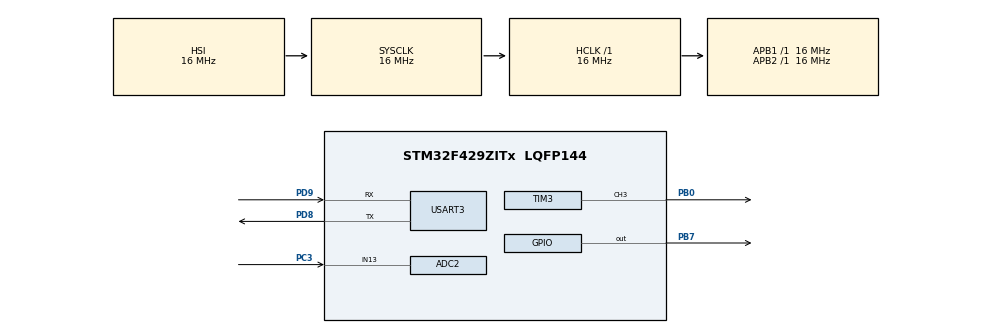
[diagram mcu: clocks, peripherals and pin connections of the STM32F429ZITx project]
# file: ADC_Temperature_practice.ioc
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ADC1.Channel-0\#ChannelRegularConversion=ADC_CHANNEL_TEMPSENSOR
ADC1.ContinuousConvMode=DISABLE
ADC1.InjNumberOfConversion=0
ADC1.NbrOfConversion=1
ADC1.NbrOfConversionFlag=1
ADC1.Rank-0\#ChannelRegularConversion=1
ADC1.SamplingTime-0\#ChannelRegularConversion=ADC_SAMPLETIME_480CYCLES
ADC1.master=1
ADC2.Channel-0\#ChannelRegularConversion=ADC_CHANNEL_13
ADC2.NbrOfConversionFlag=1
ADC2.Rank-0\#ChannelRegularConversion=1
ADC2.SamplingTime-0\#ChannelRegularConversion=ADC_SAMPLETIME_480CYCLES
Mcu.Family=STM32F4
Mcu.Name=STM32F429ZITx
Mcu.Package=LQFP144
NVIC.ADC_IRQn=true\:0\:0\:false\:true\:true\:1\:true\:true\:true
NVIC.PriorityGroup=NVIC_PRIORITYGROUP_4
NVIC.TIM2_IRQn=true\:0\:0\:false\:false\:true\:true\:true\:true
PB0.Signal=S_TIM3_CH3
PB7.Signal=GPIO_Output
PC3.Signal=ADCx_IN13
PD8.Mode=Asynchronous
PD8.Signal=USART3_TX
PD9.Mode=Asynchronous
PD9.Signal=USART3_RX
ProjectManager.HeapSize=0x200
ProjectManager.StackSize=0x400
ProjectManager.TargetToolchain=STM32CubeIDE
RCC.AHBFreq_Value=16000000
RCC.APB1Freq_Value=16000000
RCC.APB2Freq_Value=16000000
RCC.CortexFreq_Value=16000000
RCC.HSE_VALUE=25000000
RCC.HSI_VALUE=16000000
RCC.LSE_VALUE=32768
RCC.SYSCLKFreq_VALUE=16000000
RCC.VCOOutputFreq_Value=192000000
SH.ADCx_IN13.0=ADC2_IN13,IN13
SH.S_TIM3_CH3.0=TIM3_CH3,PWM Generation3 CH3
TIM2.AutoReloadPreload=TIM_AUTORELOAD_PRELOAD_ENABLE
TIM2.Period=9999
TIM2.Prescaler=1599
TIM3.Channel-PWM\ Generation3\ CH3=TIM_CHANNEL_3
TIM3.Period=19999
TIM3.Prescaler=15
TIM3.Pulse-PWM\ Generation3\ CH3=499
TIM3.TIM_MasterOutputTrigger=TIM_TRGO_UPDATE
USART3.VirtualMode=VM_ASYNC
VP_ADC1_TempSens_Input.Mode=IN-TempSens
VP_TIM2_VS_ClockSourceINT.Mode=Internal
VP_TIM3_VS_ClockSourceINT.Mode=Internal
board=custom

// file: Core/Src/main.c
/* USER CODE BEGIN Header */
/**
  ******************************************************************************
  * @file           : main.c
  * @brief          : Main program body
  ******************************************************************************
  * @attention
  *
  * Copyright (c) 2024 STMicroelectronics.
  * All rights reserved.
  *
  * This software is licensed under terms that can be found in the LICENSE file
  * in the root directory of this software component.
  * If no LICENSE file comes with this software, it is provided AS-IS.
  *
  ******************************************************************************
  */
/* USER CODE END Header */
#include "main.h"

/* USER CODE BEGIN Includes */
#include <string.h>
#include <stdio.h>
/* USER CODE END Includes */

ADC_HandleTypeDef hadc1;
ADC_HandleTypeDef hadc2;

TIM_HandleTypeDef htim2;
TIM_HandleTypeDef htim3;

UART_HandleTypeDef huart3;

void SystemClock_Config(void);
static void MX_GPIO_Init(void);
static void MX_ADC1_Init(void);
static void MX_USART3_UART_Init(void);
static void MX_TIM3_Init(void);
static void MX_ADC2_Init(void);
static void MX_TIM2_Init(void);
static void MX_NVIC_Init(void);

int main(void)
{

  /* USER CODE BEGIN 1 */
//	char uart_buf[30];
//	uint16_t adc;
  /* USER CODE END 1 */

  /* MCU Configuration--------------------------------------------------------*/

  /* Reset of all peripherals, Initializes the Flash interface and the Systick. */
  HAL_Init();

  /* Configure the system clock */
  SystemClock_Config();

  /* Initialize all configured peripherals */
  MX_GPIO_Init();
  MX_ADC1_Init();
  MX_USART3_UART_Init();
  MX_TIM3_Init();
  MX_ADC2_Init();
  MX_TIM2_Init();

  /* Initialize interrupts */
  MX_NVIC_Init();
  /* USER CODE BEGIN 2 */
  HAL_ADC_Start_IT(&hadc2);
  HAL_TIM_Base_Start_IT(&htim2);
  HAL_TIM_PWM_Start(&htim3, TIM_CHANNEL_3);
  /* USER CODE END 2 */

  /* Infinite loop */
  /* USER CODE BEGIN WHILE */
  while (1)
  {
//	  memset(uart_buf, 0, sizeof(uart_buf));
////	  HAL_ADC_PollForConversion(&hadc1, 100);
//	  adc = HAL_ADC_GetValue(&hadc1);
//	  sprintf(uart_buf, "Temp: %d\n\r", adc);
//	  HAL_UART_Transmit_IT(&huart3, uart_buf, sizeof(uart_buf));
//	  HAL_Delay(100);
    /* USER CODE END WHILE */

  }
}

void SystemClock_Config(void)
{
  RCC_OscInitTypeDef RCC_OscInitStruct = {0};
  RCC_ClkInitTypeDef RCC_ClkInitStruct = {0};

  /** Configure the main internal regulator output voltage
  */
  __HAL_RCC_PWR_CLK_ENABLE();
  __HAL_PWR_VOLTAGESCALING_CONFIG(PWR_REGULATOR_VOLTAGE_SCALE3);

  /** Initializes the RCC Oscillators according to the specified parameters
  * in the RCC_OscInitTypeDef structure.
  */
  RCC_OscInitStruct.OscillatorType = RCC_OSCILLATORTYPE_HSI;
  RCC_OscInitStruct.HSIState = RCC_HSI_ON;
  RCC_OscInitStruct.HSICalibrationValue = RCC_HSICALIBRATION_DEFAULT;
  RCC_OscInitStruct.PLL.PLLState = RCC_PLL_NONE;
  if (HAL_RCC_OscConfig(&RCC_OscInitStruct) != HAL_OK)
  {
    Error_Handler();
  }

  /** Initializes the CPU, AHB and APB buses clocks
  */
  RCC_ClkInitStruct.ClockType = RCC_CLOCKTYPE_HCLK|RCC_CLOCKTYPE_SYSCLK
                              |RCC_CLOCKTYPE_PCLK1|RCC_CLOCKTYPE_PCLK2;
  RCC_ClkInitStruct.SYSCLKSource = RCC_SYSCLKSOURCE_HSI;
  RCC_ClkInitStruct.AHBCLKDivider = RCC_SYSCLK_DIV1;
  RCC_ClkInitStruct.APB1CLKDivider = RCC_HCLK_DIV1;
  RCC_ClkInitStruct.APB2CLKDivider = RCC_HCLK_DIV1;

  if (HAL_RCC_ClockConfig(&RCC_ClkInitStruct, FLASH_LATENCY_0) != HAL_OK)
  {
    Error_Handler();
  }
}

/**
  * @brief NVIC Configuration.
  * @retval None
  */
static void MX_NVIC_Init(void)
{
  /* ADC_IRQn interrupt configuration */
  HAL_NVIC_SetPriority(ADC_IRQn, 0, 0);
  HAL_NVIC_EnableIRQ(ADC_IRQn);
}

static void MX_ADC1_Init(void)
{

  ADC_ChannelConfTypeDef sConfig = {0};

  /** Configure the global features of the ADC (Clock, Resolution, Data Alignment and number of conversion)
  */
  hadc1.Instance = ADC1;
  hadc1.Init.ClockPrescaler = ADC_CLOCK_SYNC_PCLK_DIV2;
  hadc1.Init.Resolution = ADC_RESOLUTION_12B;
  hadc1.Init.ScanConvMode = DISABLE;
  hadc1.Init.ContinuousConvMode = DISABLE;
  hadc1.Init.DiscontinuousConvMode = DISABLE;
  hadc1.Init.ExternalTrigConvEdge = ADC_EXTERNALTRIGCONVEDGE_NONE;
  hadc1.Init.ExternalTrigConv = ADC_SOFTWARE_START;
  hadc1.Init.DataAlign = ADC_DATAALIGN_RIGHT;
  hadc1.Init.NbrOfConversion = 1;
  hadc1.Init.DMAContinuousRequests = DISABLE;
  hadc1.Init.EOCSelection = ADC_EOC_SINGLE_CONV;
  if (HAL_ADC_Init(&hadc1) != HAL_OK)
  {
    Error_Handler();
  }

  /** Configure for the selected ADC regular channel its corresponding rank in the sequencer and its sample time.
  */
  sConfig.Channel = ADC_CHANNEL_TEMPSENSOR;
  sConfig.Rank = 1;
  sConfig.SamplingTime = ADC_SAMPLETIME_480CYCLES;
  if (HAL_ADC_ConfigChannel(&hadc1, &sConfig) != HAL_OK)
  {
    Error_Handler();
  }

}

static void MX_ADC2_Init(void)
{

  ADC_ChannelConfTypeDef sConfig = {0};

  /** Configure the global features of the ADC (Clock, Resolution, Data Alignment and number of conversion)
  */
  hadc2.Instance = ADC2;
  hadc2.Init.ClockPrescaler = ADC_CLOCK_SYNC_PCLK_DIV2;
  hadc2.Init.Resolution = ADC_RESOLUTION_12B;
  hadc2.Init.ScanConvMode = DISABLE;
  hadc2.Init.ContinuousConvMode = DISABLE;
  hadc2.Init.DiscontinuousConvMode = DISABLE;
  hadc2.Init.ExternalTrigConvEdge = ADC_EXTERNALTRIGCONVEDGE_NONE;
  hadc2.Init.ExternalTrigConv = ADC_SOFTWARE_START;
  hadc2.Init.DataAlign = ADC_DATAALIGN_RIGHT;
  hadc2.Init.NbrOfConversion = 1;
  hadc2.Init.DMAContinuousRequests = DISABLE;
  hadc2.Init.EOCSelection = ADC_EOC_SINGLE_CONV;
  if (HAL_ADC_Init(&hadc2) != HAL_OK)
  {
    Error_Handler();
  }

  /** Configure for the selected ADC regular channel its corresponding rank in the sequencer and its sample time.
  */
  sConfig.Channel = ADC_CHANNEL_13;
  sConfig.Rank = 1;
  sConfig.SamplingTime = ADC_SAMPLETIME_480CYCLES;
  if (HAL_ADC_ConfigChannel(&hadc2, &sConfig) != HAL_OK)
  {
    Error_Handler();
  }

}

static void MX_TIM2_Init(void)
{

  TIM_ClockConfigTypeDef sClockSourceConfig = {0};
  TIM_MasterConfigTypeDef sMasterConfig = {0};

  htim2.Instance = TIM2;
  htim2.Init.Prescaler = 1599;
  htim2.Init.CounterMode = TIM_COUNTERMODE_UP;
  htim2.Init.Period = 9999;
  htim2.Init.ClockDivision = TIM_CLOCKDIVISION_DIV1;
  htim2.Init.AutoReloadPreload = TIM_AUTORELOAD_PRELOAD_ENABLE;
  if (HAL_TIM_Base_Init(&htim2) != HAL_OK)
  {
    Error_Handler();
  }
  sClockSourceConfig.ClockSource = TIM_CLOCKSOURCE_INTERNAL;
  if (HAL_TIM_ConfigClockSource(&htim2, &sClockSourceConfig) != HAL_OK)
  {
    Error_Handler();
  }
  sMasterConfig.MasterOutputTrigger = TIM_TRGO_RESET;
  sMasterConfig.MasterSlaveMode = TIM_MASTERSLAVEMODE_DISABLE;
  if (HAL_TIMEx_MasterConfigSynchronization(&htim2, &sMasterConfig) != HAL_OK)
  {
    Error_Handler();
  }

}

static void MX_TIM3_Init(void)
{

  TIM_ClockConfigTypeDef sClockSourceConfig = {0};
  TIM_MasterConfigTypeDef sMasterConfig = {0};
  TIM_OC_InitTypeDef sConfigOC = {0};

  htim3.Instance = TIM3;
  htim3.Init.Prescaler = 15;
  htim3.Init.CounterMode = TIM_COUNTERMODE_UP;
  htim3.Init.Period = 19999;
  htim3.Init.ClockDivision = TIM_CLOCKDIVISION_DIV1;
  htim3.Init.AutoReloadPreload = TIM_AUTORELOAD_PRELOAD_DISABLE;
  if (HAL_TIM_Base_Init(&htim3) != HAL_OK)
  {
    Error_Handler();
  }
  sClockSourceConfig.ClockSource = TIM_CLOCKSOURCE_INTERNAL;
  if (HAL_TIM_ConfigClockSource(&htim3, &sClockSourceConfig) != HAL_OK)
  {
    Error_Handler();
  }
  if (HAL_TIM_PWM_Init(&htim3) != HAL_OK)
  {
    Error_Handler();
  }
  sMasterConfig.MasterOutputTrigger = TIM_TRGO_UPDATE;
  sMasterConfig.MasterSlaveMode = TIM_MASTERSLAVEMODE_DISABLE;
  if (HAL_TIMEx_MasterConfigSynchronization(&htim3, &sMasterConfig) != HAL_OK)
  {
    Error_Handler();
  }
  sConfigOC.OCMode = TIM_OCMODE_PWM1;
  sConfigOC.Pulse = 499;
  sConfigOC.OCPolarity = TIM_OCPOLARITY_HIGH;
  sConfigOC.OCFastMode = TIM_OCFAST_DISABLE;
  if (HAL_TIM_PWM_ConfigChannel(&htim3, &sConfigOC, TIM_CHANNEL_3) != HAL_OK)
  {
    Error_Handler();
  }
  HAL_TIM_MspPostInit(&htim3);

}

static void MX_USART3_UART_Init(void)
{

  huart3.Instance = USART3;
  huart3.Init.BaudRate = 115200;
  huart3.Init.WordLength = UART_WORDLENGTH_8B;
  huart3.Init.StopBits = UART_STOPBITS_1;
  huart3.Init.Parity = UART_PARITY_NONE;
  huart3.Init.Mode = UART_MODE_TX_RX;
  huart3.Init.HwFlowCtl = UART_HWCONTROL_NONE;
  huart3.Init.OverSampling = UART_OVERSAMPLING_16;
  if (HAL_UART_Init(&huart3) != HAL_OK)
  {
    Error_Handler();
  }

}

static void MX_GPIO_Init(void)
{
  GPIO_InitTypeDef GPIO_InitStruct = {0};

  /* GPIO Ports Clock Enable */
  __HAL_RCC_GPIOC_CLK_ENABLE();
  __HAL_RCC_GPIOB_CLK_ENABLE();
  __HAL_RCC_GPIOD_CLK_ENABLE();

  /*Configure GPIO pin Output Level */
  HAL_GPIO_WritePin(GPIOB, GPIO_PIN_7, GPIO_PIN_RESET);

  /*Configure GPIO pin : PB7 */
  GPIO_InitStruct.Pin = GPIO_PIN_7;
  GPIO_InitStruct.Mode = GPIO_MODE_OUTPUT_PP;
  GPIO_InitStruct.Pull = GPIO_NOPULL;
  GPIO_InitStruct.Speed = GPIO_SPEED_FREQ_LOW;
  HAL_GPIO_Init(GPIOB, &GPIO_InitStruct);

}

/* USER CODE BEGIN 4 */
void HAL_ADC_ConvCpltCallback(ADC_HandleTypeDef *hadc)
{
	if(hadc->Instance == ADC1) {
		uint16_t adc;
		char temp[20];
		double temperature;

		// Temperature (in ºC) = {(VSENSE - V25) / Avg_Slope} + 25
		// V25 = 0.76V, Avg_Slope = 2.5mV/C
		adc = HAL_ADC_GetValue(&hadc1);
		temperature = ((((double)adc / 4095) * 3.3 - 0.76) * 400) + 25;
		sprintf(temp, "Temp = %.1lf, ADC = %d\r\n", temperature, adc);
		HAL_UART_Transmit(&huart3, (uint16_t*)temp, strlen(temp), 100);
	}
	else if(hadc->Instance == ADC2) {
		uint16_t adc, pwm;

		adc = HAL_ADC_GetValue(&hadc2);
		pwm = (uint16_t)((double)(adc * 1000) / 4095) + 1000;

		TIM3->CCR3 = pwm;
	}
}

void HAL_TIM_PeriodElapsedCallback(TIM_HandleTypeDef *htim)
{
	if(htim->Instance == TIM2) {
		HAL_ADC_Start_IT(&hadc1);
	}
}
/* USER CODE END 4 */

void Error_Handler(void)
{
  __disable_irq();
  while (1)
  {
  }
}
